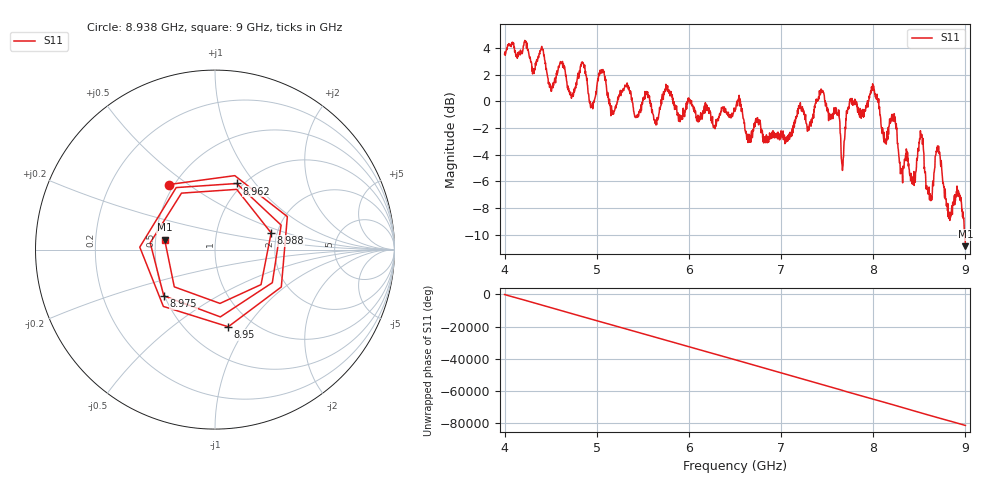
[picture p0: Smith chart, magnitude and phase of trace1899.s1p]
! Created with skrf 1.8.0 (http://scikit-rf.org).
# Hz S RI R 50.0
!freq ReS11 ImS11
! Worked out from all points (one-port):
!   1601 points, 4 GHz to 9 GHz, reference 50 ohm
!   lowest |S11| = -10.9 dB at 9 GHz (marker M1), VSWR 1.80, Z = 27.9 + j3.38 ohm
!   |S11| at or under -10 dB: 8.991833 GHz to end of sweep
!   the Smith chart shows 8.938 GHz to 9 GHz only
!   S11 on the Smith chart (normalised r, x): 8.938 GHz: 0.47, +0.42; 8.95 GHz: 0.78, -0.82; 8.962 GHz: 0.94, +0.81; 8.975 GHz: 0.50, -0.30; 8.988 GHz: 1.86, +0.39; 9 GHz: 0.56, +0.07
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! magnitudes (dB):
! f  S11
! 4 GHz  3.6
! 4.625 GHz  2.9
! 4.722 GHz  0.5
! 4.847 GHz  2.9
! 4.941 GHz  -0.4
! 5.053 GHz  2.3
! 5.166 GHz  -0.7
! 5.25 GHz  0.6
! 5.875 GHz  -1.0
! 6.5 GHz  -0.7
! 7.125 GHz  -2.3
! 7.441 GHz  0.8
! 7.669 GHz  -4.9
! 7.75 GHz  0.2
! 8.003 GHz  1.1
! 8.119 GHz  -2.3
! 8.375 GHz  -4.4
! 8.441 GHz  -5.3
! 8.522 GHz  -2.6
! 8.612 GHz  -7.4
! 8.7 GHz  -3.4
! 8.819 GHz  -8.8
! 8.938 GHz  -7.0
! 8.95 GHz  -7.2
! 8.962 GHz  -8.2
! 8.975 GHz  -8.3
! 8.988 GHz  -9.7
! 9 GHz  -10.9
